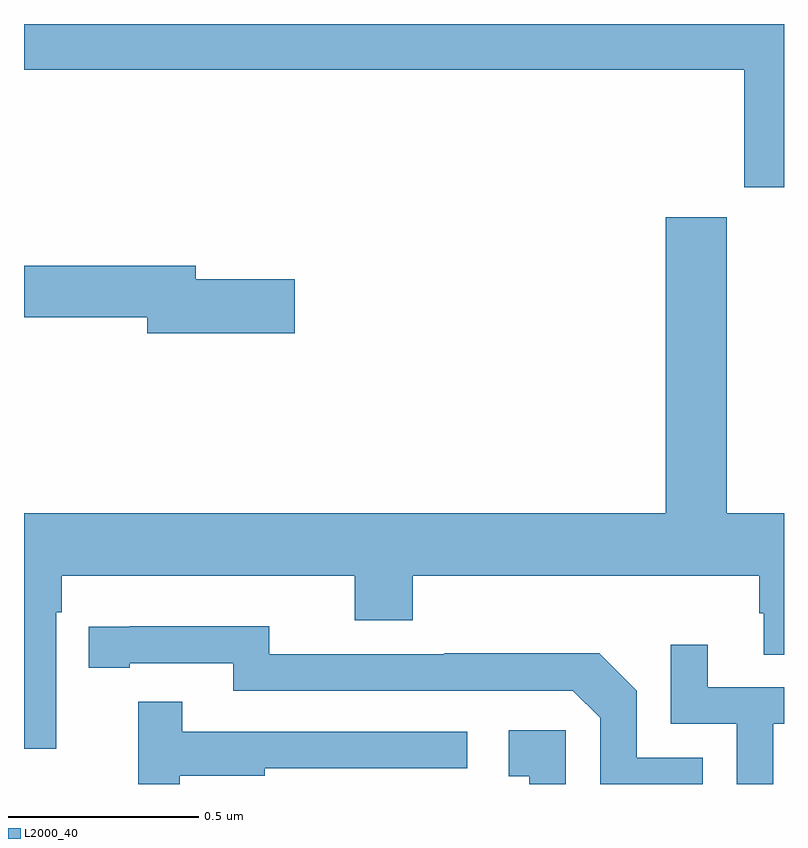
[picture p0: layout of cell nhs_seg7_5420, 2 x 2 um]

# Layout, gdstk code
import gdstk
lib = gdstk.Library(unit=1e-6, precision=1e-09)
def P(c, l, *ps):  # polygons
    for p in ps: c.add(gdstk.Polygon(p, *l))
L2000_40 = (2000, 40)

nhs_seg7_5420 = lib.new_cell('nhs_seg7_5420')
P(nhs_seg7_5420, L2000_40, [(187,1070),(185,1070),(185,1069.88),(186.896,1069.88),(186.896,1069.571),(187,1069.571)],
  [(185.085,1068.452),(185.099,1068.452),(185.099,1068.548),(185.87,1068.548),(185.87,1068.431),(186.023,1068.431),(186.023,1068.548),(186.935,1068.548),(186.935,1068.45),(186.947,1068.45),(186.947,1068.34),(187,1068.34),(187,1068.712),(186.849,1068.712),(186.849,1069.492),(186.689,1069.492),(186.689,1068.712),(185,1068.712),(185,1068.093),(185.085,1068.093)],
  [(185.713,1069.328),(185.452,1069.328),(185.452,1069.364),(185,1069.364),(185,1069.228),(185.324,1069.228),(185.324,1069.186),(185.713,1069.186)],
  [(186.786,1068.069),(186.612,1068.069),(186.612,1068.246),(186.514,1068.344),(186.106,1068.344),(186.106,1068.342),(185.646,1068.342),(185.646,1068.415),(185.278,1068.415),(185.278,1068.414),(185.17,1068.414),(185.17,1068.306),(185.278,1068.306),(185.278,1068.318),(185.55,1068.318),(185.55,1068.246),(186.444,1068.246),(186.516,1068.174),(186.516,1068),(186.786,1068)],
  [(186.972,1068.159),(187,1068.159),(187,1068.255),(186.799,1068.255),(186.799,1068.367),(186.702,1068.367),(186.702,1068.159),(186.876,1068.159),(186.876,1068),(186.972,1068)],
  [(185.41,1068.022),(185.633,1068.022),(185.633,1068.042),(186.166,1068.042),(186.166,1068.138),(185.417,1068.138),(185.417,1068.217),(185.301,1068.217),(185.301,1068),(185.41,1068)],
  [(186.426,1068.142),(186.276,1068.142),(186.276,1068.021),(186.329,1068.021),(186.329,1068),(186.426,1068)])

lib.write_gds('nhs_seg7_5420.gds')
